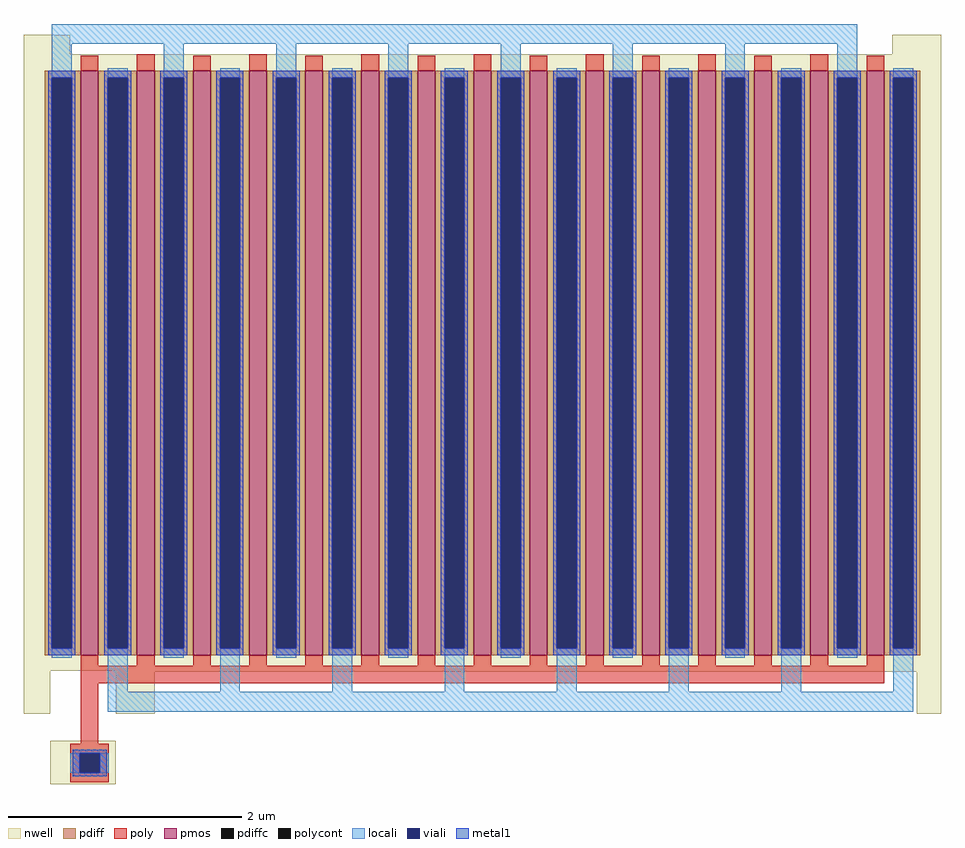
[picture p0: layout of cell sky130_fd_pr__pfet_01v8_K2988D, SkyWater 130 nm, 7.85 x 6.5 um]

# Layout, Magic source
magic
tech sky130A
magscale 1 2
<< nwell >>
rect -785 528 -705 562
rect 701 528 785 562
rect -785 -526 785 528
rect -785 -600 -739 -526
rect -627 -528 785 -526
rect -627 -600 -561 -528
rect 743 -600 785 -528
rect -739 -720 -627 -646
<< pmos >>
rect -687 -500 -657 500
rect -591 -500 -561 500
rect -495 -500 -465 500
rect -399 -500 -369 500
rect -303 -500 -273 500
rect -207 -500 -177 500
rect -111 -500 -81 500
rect -15 -500 15 500
rect 81 -500 111 500
rect 177 -500 207 500
rect 273 -500 303 500
rect 369 -500 399 500
rect 465 -500 495 500
rect 561 -500 591 500
rect 657 -500 687 500
<< pdiff >>
rect -749 488 -687 500
rect -749 -488 -737 488
rect -703 -488 -687 488
rect -749 -500 -687 -488
rect -657 488 -591 500
rect -657 -488 -641 488
rect -607 -488 -591 488
rect -657 -500 -591 -488
rect -561 488 -495 500
rect -561 -488 -545 488
rect -511 -488 -495 488
rect -561 -500 -495 -488
rect -465 488 -399 500
rect -465 -488 -449 488
rect -415 -488 -399 488
rect -465 -500 -399 -488
rect -369 488 -303 500
rect -369 -488 -353 488
rect -319 -488 -303 488
rect -369 -500 -303 -488
rect -273 488 -207 500
rect -273 -488 -257 488
rect -223 -488 -207 488
rect -273 -500 -207 -488
rect -177 488 -111 500
rect -177 -488 -161 488
rect -127 -488 -111 488
rect -177 -500 -111 -488
rect -81 488 -15 500
rect -81 -488 -65 488
rect -31 -488 -15 488
rect -81 -500 -15 -488
rect 15 488 81 500
rect 15 -488 31 488
rect 65 -488 81 488
rect 15 -500 81 -488
rect 111 488 177 500
rect 111 -488 127 488
rect 161 -488 177 488
rect 111 -500 177 -488
rect 207 488 273 500
rect 207 -488 223 488
rect 257 -488 273 488
rect 207 -500 273 -488
rect 303 488 369 500
rect 303 -488 319 488
rect 353 -488 369 488
rect 303 -500 369 -488
rect 399 488 465 500
rect 399 -488 415 488
rect 449 -488 465 488
rect 399 -500 465 -488
rect 495 488 561 500
rect 495 -488 511 488
rect 545 -488 561 488
rect 495 -500 561 -488
rect 591 488 657 500
rect 591 -488 607 488
rect 641 -488 657 488
rect 591 -500 657 -488
rect 687 488 749 500
rect 687 -488 703 488
rect 737 -488 749 488
rect 687 -500 749 -488
<< pdiffc >>
rect -737 -488 -703 488
rect -641 -488 -607 488
rect -545 -488 -511 488
rect -449 -488 -415 488
rect -353 -488 -319 488
rect -257 -488 -223 488
rect -161 -488 -127 488
rect -65 -488 -31 488
rect 31 -488 65 488
rect 127 -488 161 488
rect 223 -488 257 488
rect 319 -488 353 488
rect 415 -488 449 488
rect 511 -488 545 488
rect 607 -488 641 488
rect 703 -488 737 488
<< poly >>
rect -687 500 -657 526
rect -591 500 -561 528
rect -495 500 -465 526
rect -399 500 -369 528
rect -303 500 -273 526
rect -207 500 -177 528
rect -111 500 -81 526
rect -15 500 15 528
rect 81 500 111 526
rect 177 500 207 528
rect 273 500 303 526
rect 369 500 399 528
rect 465 500 495 526
rect 561 500 591 528
rect 657 500 687 526
rect -687 -518 -657 -500
rect -591 -518 -561 -500
rect -495 -518 -465 -500
rect -399 -518 -369 -500
rect -303 -518 -273 -500
rect -207 -518 -177 -500
rect -111 -518 -81 -500
rect -15 -518 15 -500
rect 81 -518 111 -500
rect 177 -518 207 -500
rect 273 -518 303 -500
rect 369 -518 399 -500
rect 465 -518 495 -500
rect 561 -518 591 -500
rect 657 -518 687 -500
rect -687 -548 687 -518
rect -687 -651 -657 -548
rect -705 -667 -639 -651
rect -705 -701 -689 -667
rect -655 -701 -639 -667
rect -705 -717 -639 -701
<< polycont >>
rect -689 -701 -655 -667
<< locali >>
rect -737 546 641 580
rect -737 488 -703 546
rect -737 -504 -703 -488
rect -641 488 -607 504
rect -641 -562 -607 -488
rect -545 488 -511 546
rect -545 -504 -511 -488
rect -449 488 -415 504
rect -449 -562 -415 -488
rect -353 488 -319 546
rect -353 -504 -319 -488
rect -257 488 -223 504
rect -257 -562 -223 -488
rect -161 488 -127 546
rect -161 -504 -127 -488
rect -65 488 -31 504
rect -65 -562 -31 -488
rect 31 488 65 546
rect 31 -504 65 -488
rect 127 488 161 504
rect 127 -562 161 -488
rect 223 488 257 546
rect 223 -504 257 -488
rect 319 488 353 504
rect 319 -562 353 -488
rect 415 488 449 546
rect 415 -504 449 -488
rect 511 488 545 504
rect 511 -562 545 -488
rect 607 488 641 546
rect 607 -504 641 -488
rect 703 488 737 504
rect 703 -562 737 -488
rect -641 -596 737 -562
rect -705 -701 -689 -667
rect -655 -701 -639 -667
<< viali >>
rect -737 -488 -703 488
rect -641 -488 -607 488
rect -545 -488 -511 488
rect -449 -488 -415 488
rect -353 -488 -319 488
rect -257 -488 -223 488
rect -161 -488 -127 488
rect -65 -488 -31 488
rect 31 -488 65 488
rect 127 -488 161 488
rect 223 -488 257 488
rect 319 -488 353 488
rect 415 -488 449 488
rect 511 -488 545 488
rect 607 -488 641 488
rect 703 -488 737 488
rect -689 -701 -655 -667
<< metal1 >>
rect -743 488 -697 500
rect -743 -488 -737 488
rect -703 -488 -697 488
rect -743 -500 -697 -488
rect -647 488 -601 500
rect -647 -488 -641 488
rect -607 -488 -601 488
rect -647 -500 -601 -488
rect -551 488 -505 500
rect -551 -488 -545 488
rect -511 -488 -505 488
rect -551 -500 -505 -488
rect -455 488 -409 500
rect -455 -488 -449 488
rect -415 -488 -409 488
rect -455 -500 -409 -488
rect -359 488 -313 500
rect -359 -488 -353 488
rect -319 -488 -313 488
rect -359 -500 -313 -488
rect -263 488 -217 500
rect -263 -488 -257 488
rect -223 -488 -217 488
rect -263 -500 -217 -488
rect -167 488 -121 500
rect -167 -488 -161 488
rect -127 -488 -121 488
rect -167 -500 -121 -488
rect -71 488 -25 500
rect -71 -488 -65 488
rect -31 -488 -25 488
rect -71 -500 -25 -488
rect 25 488 71 500
rect 25 -488 31 488
rect 65 -488 71 488
rect 25 -500 71 -488
rect 121 488 167 500
rect 121 -488 127 488
rect 161 -488 167 488
rect 121 -500 167 -488
rect 217 488 263 500
rect 217 -488 223 488
rect 257 -488 263 488
rect 217 -500 263 -488
rect 313 488 359 500
rect 313 -488 319 488
rect 353 -488 359 488
rect 313 -500 359 -488
rect 409 488 455 500
rect 409 -488 415 488
rect 449 -488 455 488
rect 409 -500 455 -488
rect 505 488 551 500
rect 505 -488 511 488
rect 545 -488 551 488
rect 505 -500 551 -488
rect 601 488 647 500
rect 601 -488 607 488
rect 641 -488 647 488
rect 601 -500 647 -488
rect 697 488 743 500
rect 697 -488 703 488
rect 737 -488 743 488
rect 697 -500 743 -488
rect -701 -667 -643 -661
rect -701 -701 -689 -667
rect -655 -701 -643 -667
rect -701 -707 -643 -701
<< properties >>
string gencell sky130_fd_pr__pfet_01v8
string parameters w 5 l 0.15 m 1 nf 15 diffcov 100 polycov 100 guard 0 glc 0 grc 0 gtc 0 gbc 0 tbcov 100 rlcov 100 topc 1 botc 0 poverlap 0 doverlap 1 lmin 0.15 wmin 0.42 compatible {sky130_fd_pr__pfet_01v8  sky130_fd_pr__pfet_01v8_lvt sky130_fd_pr__pfet_01v8_hvt  sky130_fd_pr__pfet_g5v0d10v5} full_metal 0 viasrc 100 viadrn 100 viagate 100 viagb 0 viagr 0 viagl 0 viagt 0
string library sky130
<< end >>
